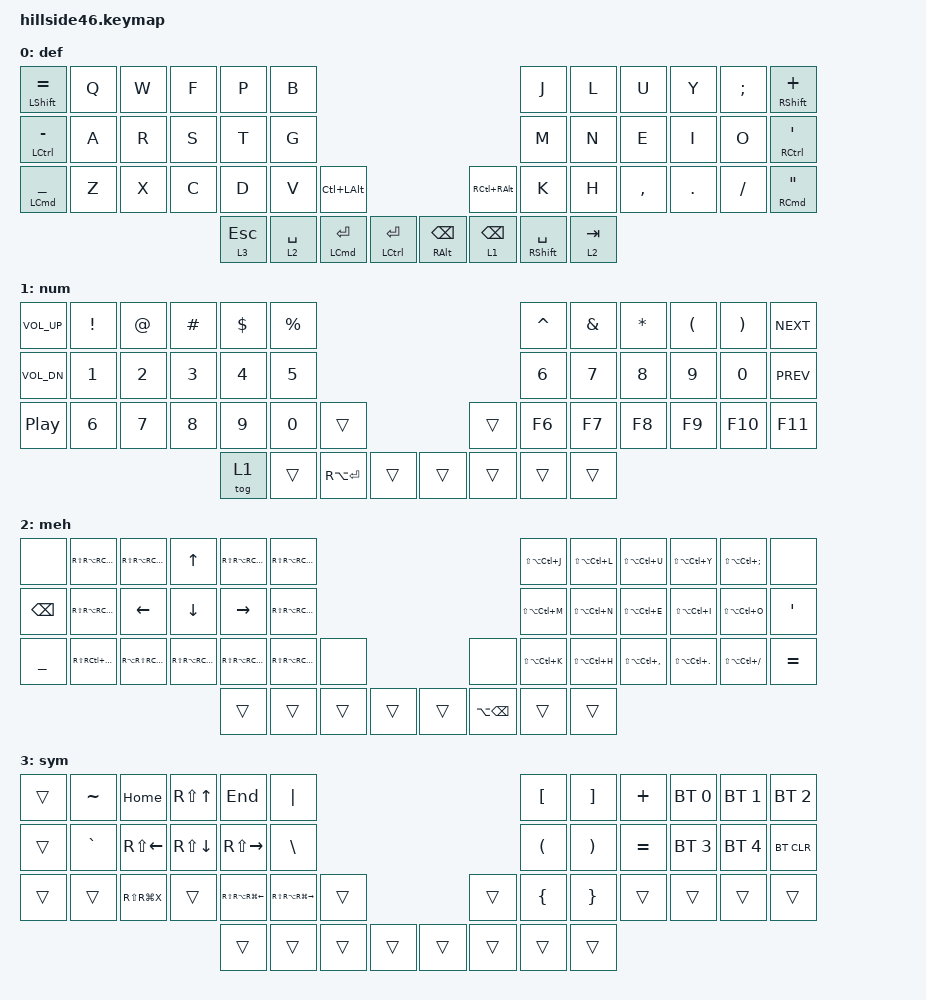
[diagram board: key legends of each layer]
/*
 * Copyright (c) 2021-2022 The ZMK Contributors
 *
 * SPDX-License-Identifier: MIT
 */

#include <behaviors.dtsi>
#include <dt-bindings/zmk/keys.h>
#include <dt-bindings/zmk/bt.h>

&mt { flavor = "tap-preferred"; };

/ {
    behaviors {
        hm: homerow_mods {
            compatible = "zmk,behavior-hold-tap";
            #binding-cells = <2>;
            tapping-term-ms = <300>;
            flavor = "tap-preferred";
            bindings = <&kp>, <&kp>;
        };
    };

    keymap {
        compatible = "zmk,keymap";

        def {
            bindings = <
&mt LEFT_SHIFT EQUAL  &kp Q  &kp W  &kp F  &kp P      &kp B                                                                                           &kp J                  &kp L          &kp U      &kp Y    &kp SEMICOLON  &mt RSHFT PLUS
&mt LCTRL MINUS       &kp A  &kp R  &kp S  &kp T      &kp G                                                                                           &kp M                  &kp N          &kp E      &kp I    &kp O          &mt RCTRL SINGLE_QUOTE
&mt LCMD UNDER        &kp Z  &kp X  &kp C  &kp D      &kp V        &kp LC(LEFT_ALT)                                                     &kp RC(RALT)  &kp K                  &kp H          &kp COMMA  &kp DOT  &kp SLASH      &mt RCMD DQT
                                           &lt 3 ESC  &lt 2 SPACE  &mt LEFT_COMMAND RETURN  &mt LCTRL ENTER    &mt RIGHT_ALT BACKSPACE  &lt 1 BSPC    &mt RIGHT_SHIFT SPACE  &lt 2 TAB
            >;
        };

        num {
            bindings = <
&kp K_VOL_UP  &kp EXCL  &kp AT  &kp HASH  &kp DOLLAR  &kp PERCENT                                           &kp CARET  &kp AMPERSAND  &kp STAR  &kp LPAR  &kp RPAR  &kp C_NEXT
&kp K_VOL_DN  &kp N1    &kp N2  &kp N3    &kp N4      &kp N5                                                &kp N6     &kp N7         &kp N8    &kp N9    &kp N0    &kp C_PREV
&kp C_PP      &kp N6    &kp N7  &kp N8    &kp N9      &kp N0       &trans                           &trans  &kp F6     &kp F7         &kp F8    &kp F9    &kp F10   &kp F11
                                          &tog 1      &trans       &kp RA(ENTER)  &trans    &trans  &trans  &trans     &trans
            >;
        };

        meh {
            bindings = <
&none          &kp RS(RA(RC(Q)))  &kp RS(RA(RC(W)))  &kp UP_ARROW       &kp RS(RA(RC(P)))  &kp RS(RA(RC(B)))                                               &kp LS(LA(LC(J)))  &kp LS(LA(LC(L)))  &kp LS(LA(LC(U)))      &kp LS(LA(LC(Y)))    &kp LS(LA(LC(SEMICOLON)))  &none
&kp BACKSPACE  &kp RS(RA(RC(A)))  &kp LEFT           &kp DOWN           &kp RIGHT          &kp RS(RA(RC(G)))                                               &kp LS(LA(LC(M)))  &kp LS(LA(LC(N)))  &kp LS(LA(LC(E)))      &kp LS(LA(LC(I)))    &kp LS(LA(LC(O)))          &kp SINGLE_QUOTE
&kp UNDER      &kp RS(RC(RA(Z)))  &kp RA(RS(RC(X)))  &kp RS(RA(RC(C)))  &kp RS(RA(RC(D)))  &kp RS(RA(RC(V)))  &none                     &none              &kp LS(LA(LC(K)))  &kp LS(LA(LC(H)))  &kp LS(LA(LC(COMMA)))  &kp LS(LA(LC(DOT)))  &kp LS(LA(LC(SLASH)))      &kp EQUAL
                                                                        &trans             &trans             &trans  &trans    &trans  &kp LA(BACKSPACE)  &trans             &trans
            >;
        };

        sym {
            bindings = <
&trans  &kp TILDE  &kp HOME       &kp RS(UP_ARROW)  &kp END               &kp PIPE                                                 &kp LBKT  &kp RBKT  &kp PLUS   &bt BT_SEL 0  &bt BT_SEL 1  &bt BT_SEL 2
&trans  &kp GRAVE  &kp RS(LEFT)   &kp RS(DOWN)      &kp RS(RIGHT)         &kp BSLH                                                 &kp LPAR  &kp RPAR  &kp EQUAL  &bt BT_SEL 3  &bt BT_SEL 4  &bt BT_CLR
&trans  &trans     &kp RS(RG(X))  &trans            &kp RS(RA(RG(LEFT)))  &kp RS(RA(RG(RIGHT)))  &trans                    &trans  &kp LBRC  &kp RBRC  &trans     &trans  &trans  &trans
                                                    &trans                &trans                 &trans  &trans    &trans  &trans  &trans    &trans
            >;
        };
    };
};
